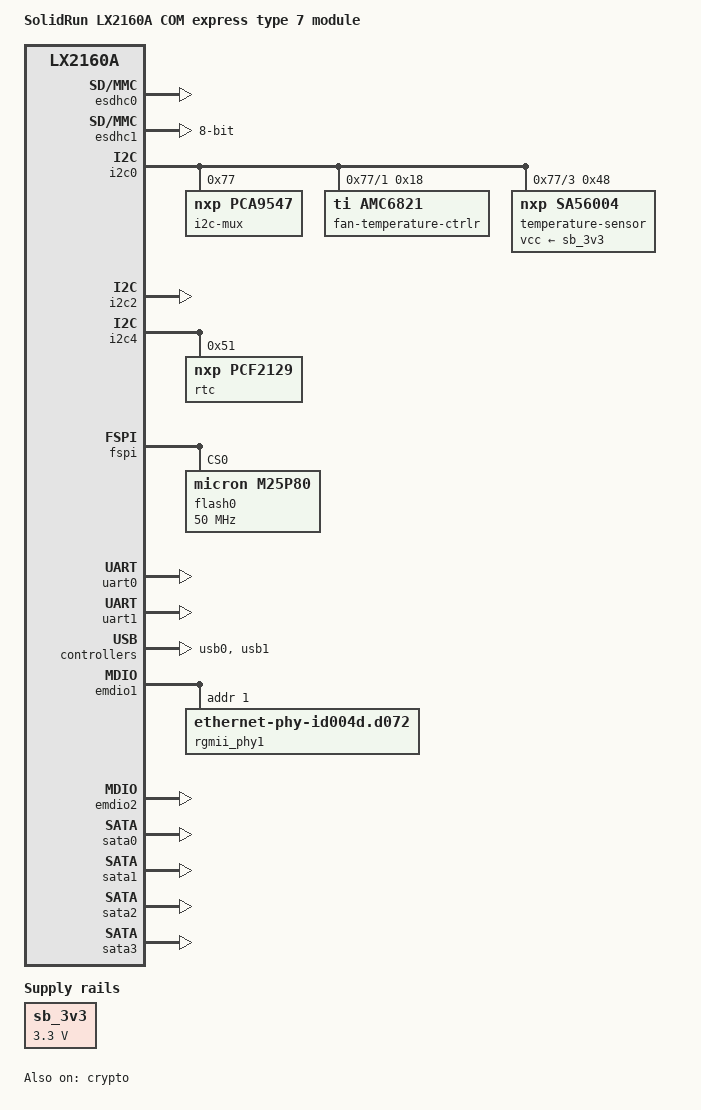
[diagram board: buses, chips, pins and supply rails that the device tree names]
// SPDX-License-Identifier: (GPL-2.0 OR MIT)
//
// Device Tree file for LX2160A-CEx7
//
// Copyright 2019 SolidRun ltd.

/dts-v1/;

#include "fsl-lx2160a.dtsi"

/ {
	model = "SolidRun LX2160A COM express type 7 module";
	compatible = "fsl,lx2160a-cex7", "fsl,lx2160a";

	aliases {
		crypto = &crypto;
		serial0 = &uart0;
		serial1 = &uart1;
	};

	chosen {
		stdout-path = "serial0:115200n8";
	};

	sb_3v3: regulator-sb3v3 {
		compatible = "regulator-fixed";
		regulator-name = "RT7290";
		regulator-min-microvolt = <3300000>;
		regulator-max-microvolt = <3300000>;
		regulator-boot-on;
		regulator-always-on;
	};
};

&crypto {
	status = "okay";
};

&esdhc0 {
	sd-uhs-sdr104;
	sd-uhs-sdr50;
	sd-uhs-sdr25;
	sd-uhs-sdr12;
	status = "okay";
};

&esdhc1 {
	mmc-hs200-1_8v;
	mmc-hs400-1_8v;
	bus-width = <8>;
	status = "okay";
};


/*
i2c busses are -
/dev/i2c0 - CTRL #0 - connected to PCA9547 I2C switch
/dev/i2c1 - CTRL #2 - COM module to carrier (general I2C_CK/I2C_DAT)
/dev/i2c2 - CTRL #4 - Connected to RTC PCF2129AT (0x51), EEPROM (0x54,0x55,0x56,0x57)

I2C switch -
/dev/i2c3 - CH0 - SO-DIMMs SPD (0x51, 0x53), 2Kb EEPROM (0x57), bootable 512Kb eeprom (0x50)
/dev/i2c4 - CH1 - 100MHz clk gen (address 0x6a)
/dev/i2c5 - CH2 - LTC3882 DC-DC controller on 0x63
/dev/i2c6 - CH3 - SA56004ED (0x4c), SA56004FD (0x4d), COM module SMB_CK,SMB_DAT and COM module 10G_LED_SDA,10G_LED_SCL
/dev/i2c7 - CH4 - SFP #0 I2C
/dev/i2c8 - CH5 - SFP #1 I2C
/dev/i2c9 - CH6 - SFP #2 I2C
/dev/i2c10 - CH7 - SFP #3 I2C


*/



&i2c0 {
	status = "okay";

	i2c-mux@77 {
		compatible = "nxp,pca9547";
		reg = <0x77>;
		#address-cells = <1>;
		#size-cells = <0>;

		i2c@1 {
			#address-cells = <1>;
			#size-cells = <0>;
			reg = <0x1>;
			fan-temperature-ctrlr@18 {
				compatible = "ti,amc6821";
				reg = <0x18>;
				cooling-min-state = <0>;
				cooling-max-state = <9>;
				#cooling-cells = <2>;
			};
		};
		i2c@3 {
			#address-cells = <1>;
			#size-cells = <0>;
			reg = <0x3>;

			temperature-sensor@48 {
				compatible = "nxp,sa56004";
				reg = <0x48>;
				vcc-supply = <&sb_3v3>;
			};
		};
	};
};

&i2c2 {
	status = "okay";
};

&i2c4 {
	status = "okay";

	rtc@51 {
		compatible = "nxp,pcf2129";
		reg = <0x51>;
		// IRQ10_B
		interrupts = <0 150 0x4>;
	};
};

&fspi {
	status = "okay";
	flash0: mt35xu512aba@0 {
		#address-cells = <1>;
		#size-cells = <1>;
		compatible = "micron,m25p80";
		m25p,fast-read;
		spi-max-frequency = <50000000>;
		reg = <0>;
		/* The following setting enables 1-1-8 (CMD-ADDR-DATA) mode */
		spi-rx-bus-width = <8>;
		spi-tx-bus-width = <1>;
	};
};

&uart0 {
	status = "okay";
};

&uart1 {
	status = "okay";
};

&usb0 {
	status = "okay";
};

&usb1 {
	status = "okay";
};

&emdio1 {
	status = "okay";
	rgmii_phy1: ethernet-phy@1 {
		/* AR8035 PHY - "compatible" property not strictly needed */
		compatible = "ethernet-phy-id004d.d072";
		reg = <0x1>;
		/* Poll mode - no "interrupts" property defined */
	};
};

&emdio2 {
	status = "okay";
};

&dpmac17 {
	phy-handle = <&rgmii_phy1>;
	phy-connection-type = "rgmii-id";
};

&sata0 {
	status = "okay";
};

&sata1 {
	status = "okay";
};

&sata2 {
	status = "okay";
};

&sata3 {
	status = "okay";
};
